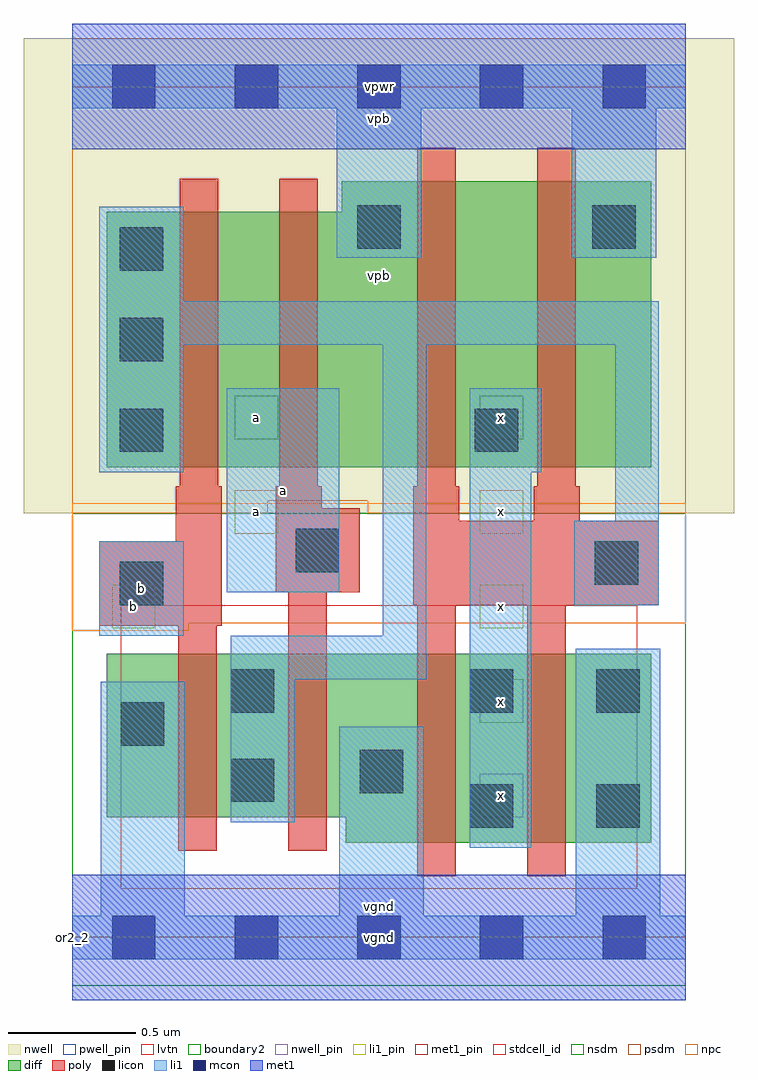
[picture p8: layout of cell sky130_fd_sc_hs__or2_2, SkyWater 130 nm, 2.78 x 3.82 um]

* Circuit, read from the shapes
.subckt sky130_fd_sc_hs__or2_2 a b vgnd vnb vpb vpwr x
XM1 n1 b vgnd vnb sky130_fd_pr__nfet_01v8_lvt w=0.64 l=0.15
XM2 vgnd a n1 vnb sky130_fd_pr__nfet_01v8_lvt w=0.64 l=0.15
XM3 x n1 vgnd vnb sky130_fd_pr__nfet_01v8_lvt w=0.74 l=0.15 m=2
XM4 n2 b n1 vpb sky130_fd_pr__pfet_01v8 w=1 l=0.15
XM5 vpwr a n2 vpb sky130_fd_pr__pfet_01v8 w=1 l=0.15
XM6 x n1 vpwr vpb sky130_fd_pr__pfet_01v8 w=1.12 l=0.15 m=2
.ends

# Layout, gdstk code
import gdstk
lib = gdstk.Library(unit=1e-6, precision=1e-09)
def R(c, l, rs):  # rectangles x0, y0, x1, y1
    for r in rs: c.add(gdstk.rectangle(r[:2], r[2:], *l))
def A(c, l, x, y, w, h, nx, ny, dx, dy):  # array of equal rectangles
    R(c, l, [(x+i*dx, y+j*dy, x+i*dx+w, y+j*dy+h) for i in range(nx) for j in range(ny)])
def P(c, l, *ps):  # polygons
    for p in ps: c.add(gdstk.Polygon(p, *l))
nwell_pin = (64, 16)
nwell = (64, 20)
diff = (65, 20)
poly = (66, 20)
licon = (66, 44)
li1_pin = (67, 16)
li1 = (67, 20)
mcon = (67, 44)
met1_pin = (68, 16)
met1 = (68, 20)
stdcell_id = (81, 4)
nsdm = (93, 44)
psdm = (94, 20)
npc = (95, 20)
pwell_pin = (122, 16)
lvtn = (125, 44)
boundary2 = (236, 0)

sky130_fd_sc_hs__or2_2 = lib.new_cell('sky130_fd_sc_hs__or2_2')
R(sky130_fd_sc_hs__or2_2, nwell_pin, [(0,3.085,2.4,3.33)])
R(sky130_fd_sc_hs__or2_2, nwell, [(-0.19,1.66,2.59,3.52)])
P(sky130_fd_sc_hs__or2_2, diff, [(0.135,1.84),(0.135,2.84),(1.055,2.84),(1.055,2.96),(2.265,2.96),(2.265,1.84)],
  [(1.07,0.37),(1.07,0.47),(0.135,0.47),(0.135,1.11),(2.265,1.11),(2.265,0.37)])
P(sky130_fd_sc_hs__or2_2, poly, [(1.35,0.24),(1.35,1.3),(1.335,1.3),(1.335,1.765),(1.35,1.765),(1.35,3.09),(1.5,3.09),(1.5,1.765),(1.515,1.765),(1.515,1.63),(1.805,1.63),(1.805,1.765),(1.82,1.765),(1.82,3.09),(1.97,3.09),(1.97,1.765),(1.985,1.765),(1.985,1.63),(2.295,1.63),(2.295,1.3),(1.93,1.3),(1.93,0.24),(1.78,0.24),(1.78,1.3),(1.5,1.3),(1.5,0.24)],
  [(0.845,0.34),(0.845,1.35),(0.795,1.35),(0.795,1.765),(0.81,1.765),(0.81,2.97),(0.96,2.97),(0.96,1.765),(0.975,1.765),(0.975,1.68),(1.125,1.68),(1.125,1.35),(0.995,1.35),(0.995,0.34)],
  [(0.415,0.34),(0.415,1.22),(0.105,1.22),(0.105,1.55),(0.405,1.55),(0.405,1.765),(0.42,1.765),(0.42,2.97),(0.57,2.97),(0.57,1.765),(0.585,1.765),(0.585,1.22),(0.565,1.22),(0.565,0.34)])
A(sky130_fd_sc_hs__or2_2, licon, 0.185, 1.9, 0.17, 0.17, 1, 3, 0, 0.355)
R(sky130_fd_sc_hs__or2_2, licon, [(1.555,0.43,1.725,0.6), (2.05,0.43,2.22,0.6), (0.62,0.53,0.79,0.7), (1.125,0.565,1.295,0.735), (0.19,0.75,0.36,0.92), (0.62,0.88,0.79,1.05), (1.555,0.88,1.725,1.05), (2.05,0.88,2.22,1.05), (0.185,1.3,0.355,1.47), (2.045,1.38,2.215,1.55), (0.875,1.43,1.045,1.6), (1.575,1.9,1.745,2.07), (1.115,2.695,1.285,2.865), (2.035,2.695,2.205,2.865)])
A(sky130_fd_sc_hs__or2_2, li1_pin, 1.595, 0.47, 0.17, 0.17, 1, 5, 0, 0.37)
R(sky130_fd_sc_hs__or2_2, li1_pin, [(0.155,1.21,0.325,1.38), (0.635,1.58,0.805,1.75), (0.635,1.95,0.805,2.12)])
R(sky130_fd_sc_hs__or2_2, li1, [(0.105,1.18,0.435,1.55), (0.605,1.35,1.045,2.15)])
P(sky130_fd_sc_hs__or2_2, li1, [(1.035,2.66),(1.035,3.245),(0,3.245),(0,3.415),(2.4,3.415),(2.4,3.245),(2.285,3.245),(2.285,2.66),(1.955,2.66),(1.955,3.245),(1.365,3.245),(1.365,2.66)],
  [(0,-0.085),(0,0.085),(0.11,0.085),(0.11,1),(0.44,1),(0.44,0.085),(1.045,0.085),(1.045,0.825),(1.375,0.825),(1.375,0.085),(1.97,0.085),(1.97,1.13),(2.3,1.13),(2.3,0.085),(2.4,0.085),(2.4,-0.085)],
  [(1.555,0.35),(1.555,2.15),(1.835,2.15),(1.835,1.82),(1.795,1.82),(1.795,0.35)],
  [(0.62,0.45),(0.62,1.18),(1.215,1.18),(1.215,2.32),(0.435,2.32),(0.435,1.82),(0.105,1.82),(0.105,2.86),(0.435,2.86),(0.435,2.49),(2.295,2.49),(2.295,1.3),(1.965,1.3),(1.965,1.63),(2.125,1.63),(2.125,2.32),(1.385,2.32),(1.385,1.01),(0.87,1.01),(0.87,0.45)])
A(sky130_fd_sc_hs__or2_2, mcon, 0.155, -0.085, 0.17, 0.17, 5, 2, 0.48, 3.33)
R(sky130_fd_sc_hs__or2_2, met1_pin, [(0,0,2.4,0.245), (0,3.085,2.4,3.33)])
R(sky130_fd_sc_hs__or2_2, met1, [(0,-0.245,2.4,0.245), (0,3.085,2.4,3.575)])
R(sky130_fd_sc_hs__or2_2, stdcell_id, [(0,0,2.4,3.33)])
R(sky130_fd_sc_hs__or2_2, nsdm, [(0,-0.19,2.4,1.66)])
P(sky130_fd_sc_hs__or2_2, psdm, [(0,1.66),(0,3.52),(2.4,3.52),(2.4,1.66),(1.155,1.66),(1.155,1.71),(0.765,1.71),(0.765,1.66)])
P(sky130_fd_sc_hs__or2_2, npc, [(0,1.2),(0,1.7),(2.4,1.7),(2.4,1.23),(0.455,1.23),(0.455,1.2)])
R(sky130_fd_sc_hs__or2_2, pwell_pin, [(0,0,2.4,0.245)])
R(sky130_fd_sc_hs__or2_2, lvtn, [(0.19,0.19,2.21,1.3)])
R(sky130_fd_sc_hs__or2_2, boundary2, [(0,0,2.4,3.33)])
sky130_fd_sc_hs__or2_2.add(gdstk.Label('vpb', (1.2,3.207), layer=64, texttype=16))
sky130_fd_sc_hs__or2_2.add(gdstk.Label('vpb', (1.2,2.59), layer=64, texttype=16))
sky130_fd_sc_hs__or2_2.add(gdstk.Label('vpwr', (1.2,3.207), layer=68, texttype=16))
sky130_fd_sc_hs__or2_2.add(gdstk.Label('vgnd', (1.2,0.122), layer=68, texttype=16))
sky130_fd_sc_hs__or2_2.add(gdstk.Label('vpwr', (1.2,3.33), layer=68, texttype=16))
sky130_fd_sc_hs__or2_2.add(gdstk.Label('vgnd', (1.2,0), layer=68, texttype=16))
sky130_fd_sc_hs__or2_2.add(gdstk.Label('x', (1.68,0.555), layer=67, texttype=16))
sky130_fd_sc_hs__or2_2.add(gdstk.Label('x', (1.68,0.925), layer=67, texttype=16))
sky130_fd_sc_hs__or2_2.add(gdstk.Label('x', (1.68,1.295), layer=67, texttype=16))
sky130_fd_sc_hs__or2_2.add(gdstk.Label('x', (1.68,1.665), layer=67, texttype=16))
sky130_fd_sc_hs__or2_2.add(gdstk.Label('x', (1.68,2.035), layer=67, texttype=16))
sky130_fd_sc_hs__or2_2.add(gdstk.Label('b', (0.24,1.295), layer=67, texttype=16))
sky130_fd_sc_hs__or2_2.add(gdstk.Label('a', (0.72,1.665), layer=67, texttype=16))
sky130_fd_sc_hs__or2_2.add(gdstk.Label('a', (0.72,2.035), layer=67, texttype=16))
sky130_fd_sc_hs__or2_2.add(gdstk.Label('b', (0.27,1.365), layer=67, texttype=16))
sky130_fd_sc_hs__or2_2.add(gdstk.Label('x', (1.695,1.25), layer=67, texttype=16))
sky130_fd_sc_hs__or2_2.add(gdstk.Label('a', (0.825,1.75), layer=67, texttype=16))
sky130_fd_sc_hs__or2_2.add(gdstk.Label('or2_2', (0,0), layer=83, texttype=44))
sky130_fd_sc_hs__or2_2.add(gdstk.Label('vnb', (1.2,0.123), layer=64, texttype=59))

lib.write_gds('sky130_fd_sc_hs__or2_2.gds')
